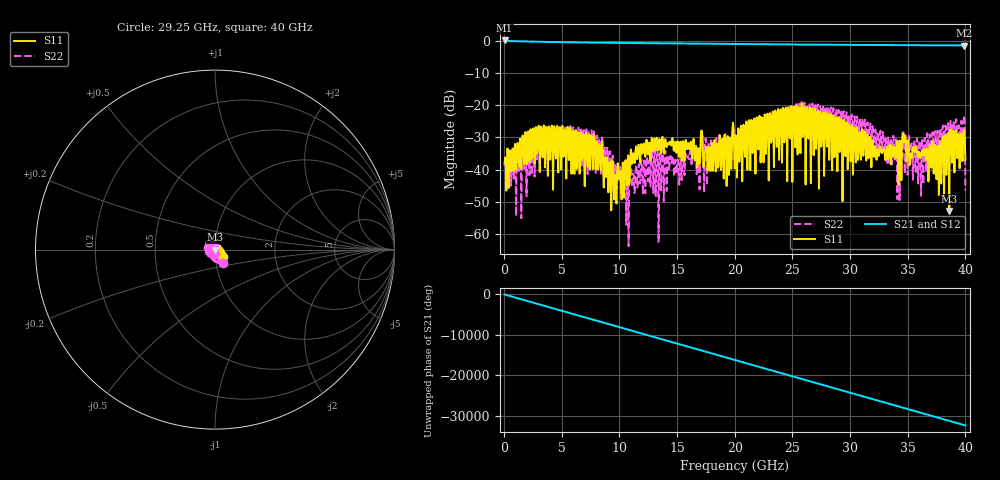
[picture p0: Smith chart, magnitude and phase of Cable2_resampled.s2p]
# MHz MA S R 50.0
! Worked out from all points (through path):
!   800 points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, 50 MHz to 40 GHz, reference 50 ohm
!   highest |S21| = 0.01 dB at 50 MHz (marker M1); lowest = -1.6 dB at 39.9 GHz (marker M2)
!   lowest |S11| = -52.8 dB at 38.6 GHz (marker M3), VSWR 1.00, Z = 50.2 - j0.129 ohm
!   |S11| at or under -10 dB: start of sweep to end of sweep
!   |S22| runs from -63.7 to -19.0 dB; largest |S21 - S12| = 0.0029
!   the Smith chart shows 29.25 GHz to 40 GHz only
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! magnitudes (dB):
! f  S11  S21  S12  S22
! 50 MHz  -38.0  0.0  0.0  -38.8
! 2.85 GHz  -35.0  -0.4  -0.4  -36.8
! 6.75 GHz  -37.1  -0.6  -0.6  -32.3
! 8.4 GHz  -40.2  -0.7  -0.7  -41.2
! 9.7 GHz  -47.2  -0.7  -0.7  -40.6
! 10.65 GHz  -44.8  -0.8  -0.8  -44.6
! 11.05 GHz  -35.0  -0.8  -0.8  -41.5
! 13.4 GHz  -33.9  -0.9  -0.9  -62.4
! 17.5 GHz  -33.1  -1.0  -1.0  -30.5
! 20.05 GHz  -31.0  -1.1  -1.1  -31.9
! 23.85 GHz  -37.0  -1.2  -1.2  -27.5
! 26.7 GHz  -20.9  -1.3  -1.3  -19.9
! 33.35 GHz  -34.9  -1.4  -1.4  -31.6
! 33.85 GHz  -33.0  -1.4  -1.4  -36.9
! 34.3 GHz  -30.9  -1.4  -1.4  -49.4
! 34.75 GHz  -29.7  -1.5  -1.5  -41.2
! 36.15 GHz  -35.8  -1.5  -1.5  -48.1
! 37.7 GHz  -47.8  -1.5  -1.5  -33.0
! 38.6 GHz  -52.8  -1.5  -1.5  -31.6
! 39.75 GHz  -37.4  -1.5  -1.5  -32.8
! 39.9 GHz  -27.7  -1.6  -1.6  -23.2
! 40 GHz  -36.9  -1.5  -1.5  -46.4
